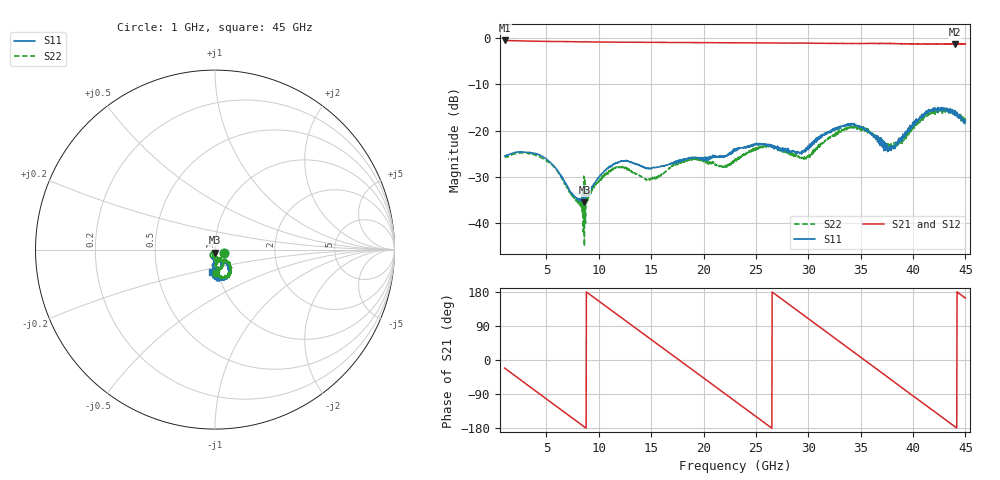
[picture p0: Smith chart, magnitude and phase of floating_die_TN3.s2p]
!Keysight Technologies,N5247B,MY61255062,A.19.80.06
!Date: Thursday, May 21, 2026 11:45:58
!Correction: S11(Cdelta 2-Port  )
!S21(Cdelta 2-Port  )
!S12(Cdelta 2-Port  )
!S22(Cdelta 2-Port  )
!S2P File: Measurements: S11, S21, S12, S22:
# Hz S  dB  R 50
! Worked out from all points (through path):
!   1601 points, 1 GHz to 45 GHz, reference 50 ohm
!   highest |S21| = -0.49 dB at 1 GHz (marker M1); lowest = -1.3 dB at 43.98 GHz (marker M2)
!   group delay of S21, straight-line fit = 56.5 ps
!   lowest |S11| = -35.5 dB at 8.617 GHz (marker M3), VSWR 1.03, Z = 49.8 - j1.66 ohm
!   |S11| at or under -10 dB: start of sweep to end of sweep
!   |S22| runs from -45.0 to -15.1 dB; largest |S21 - S12| = 0.017
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1e9  -25.49 -21.8  -0.49 -21.2  -0.49 -21.3  -25.61 -22.1
2.925e9  -24.65 -71.7  -0.61 -60.7  -0.61 -60.7  -24.80 -72.2
4.575e9  -25.55 -108.6  -0.68 -94.3  -0.68 -94.3  -26.00 -109.3
6.28e9  -29.34 -135.2  -0.73 -129.0  -0.73 -129.0  -29.55 -137.8
8.3425e9  -34.71 -101.9  -0.80 -171.0  -0.80 -171.0  -36.17 -115.0
8.6175e9  -35.49 -96.5  -0.78 -176.2  -0.78 -176.2  -45.02 -26.8
1.03775e10  -29.14 -80.5  -0.83 147.7  -0.84 147.7  -30.30 -87.5
1.244e10  -26.57 -99.3  -0.88 106.0  -0.88 105.9  -27.95 -106.2
1.5685e10  -27.89 -97.4  -0.93 39.9  -0.93 39.9  -30.08 -88.9
1.8875e10  -25.87 -91.4  -0.96 -24.6  -0.97 -24.6  -26.43 -91.9
2.1075e10  -25.52 -89.2  -0.98 -69.3  -0.98 -69.3  -27.16 -95.2
2.3e10  -24.16 -80.7  -1.01 -108.6  -1.02 -108.6  -26.18 -74.8
2.49525e10  -23.05 -86.3  -1.03 -148.1  -1.04 -148.1  -23.85 -77.4
2.663e10  -23.61 -92.6  -1.04 177.8  -1.03 177.7  -23.47 -83.7
2.828e10  -24.45 -86.8  -1.06 144.3  -1.06 144.2  -25.27 -88.6
3.03425e10  -23.26 -65.3  -1.09 102.2  -1.09 102.0  -24.68 -61.0
3.22675e10  -20.10 -69.2  -1.15 63.1  -1.12 63.0  -21.23 -59.1
3.444e10  -18.60 -85.4  -1.14 19.0  -1.15 18.8  -18.75 -75.0
3.7685e10  -23.90 -77.4  -1.15 -47.3  -1.12 -47.7  -23.90 -69.7
4.06e10  -17.61 -53.8  -1.29 -107.0  -1.25 -106.8  -18.28 -45.1
4.39825e10  -16.69 -90.0  -1.33 -175.5  -1.25 -175.8  -16.26 -78.9
4.5e10  -18.19 -97.2  -1.25 163.2  -1.28 163.3  -17.74 -86.8
